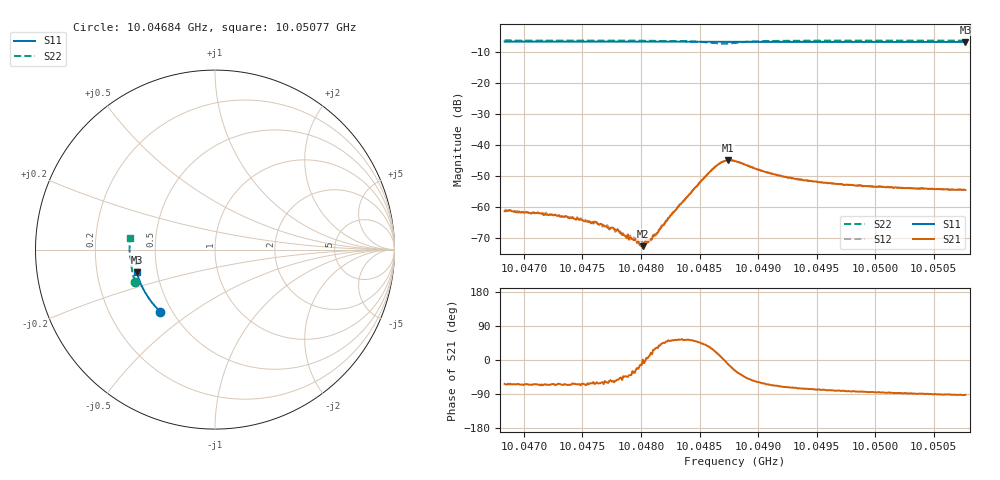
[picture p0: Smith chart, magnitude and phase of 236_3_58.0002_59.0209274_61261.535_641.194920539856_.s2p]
#  HZ  S  RI  R  50.00
! Rohde & Schwarz Vector Network Analyzer
! Rohde-Schwarz,ZNB20-2Port,1311601062101988,3.16
! Created: UTC 3/21/2024, 1:00:52 AM
! freq[Hz]  re:S11  im:S11  re:S21  im:S21  re:S12  im:S12  re:S22  im:S22
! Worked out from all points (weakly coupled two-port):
!   401 points, 10.04684 GHz to 10.05077 GHz, reference 50 ohm
!   highest |S21| = -45.01 dB at 10.04874 GHz (marker M1); lowest = -72.7 dB at 10.04802 GHz (marker M2)
!   lowest |S11| = -6.9 dB at 10.05077 GHz (marker M3), VSWR 2.66, Z = 19.1 - j6.11 ohm
!   |S11| at or under -10 dB: nowhere
!   |S22| runs from -7.4 to -6.4 dB; largest |S21 - S12| = 0.00042
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1.0046835e10  -0.3039 -0.3464  0.000386 -0.00076  0.000437 -0.000779  -0.4441 -0.1809
1.0047121e10  -0.3175 -0.333  0.000341 -0.000738  0.000381 -0.000714  -0.4506 -0.1627
1.0047495e10  -0.3344 -0.3151  0.00028 -0.000547  0.000285 -0.000542  -0.4578 -0.1376
1.0047632e10  -0.3403 -0.3081  0.00025 -0.000469  0.00029 -0.000438  -0.4602 -0.1281
1.0047711e10  -0.3436 -0.3041  0.00024 -0.000401  0.000288 -0.000422  -0.4614 -0.1224
1.004778e10  -0.3465 -0.3005  0.000247 -0.000355  0.000259 -0.000298  -0.4622 -0.1174
1.0047859e10  -0.3498 -0.2964  0.000246 -0.000238  0.000273 -0.00026  -0.4633 -0.1115
1.0047967e10  -0.3543 -0.2908  0.000244 -9.5e-05  0.000278 -8.52e-05  -0.4644 -0.1032
1.0048006e10  -0.3558 -0.2888  0.000226 -5.31e-05  0.000287 -4.65e-05  -0.4647 -0.1
1.0048016e10  -0.3563 -0.2883  0.000232 4.44e-06  0.00025 -3.7e-05  -0.4648 -0.0992
1.0048085e10  -0.3589 -0.2846  0.000281 9.7e-05  0.000259 0.000127  -0.465 -0.0936
1.0048154e10  -0.3616 -0.281  0.00033 0.000261  0.000315 0.000292  -0.4653 -0.0878
1.0048331e10  -0.3685 -0.2714  0.000649 0.000871  0.000558 0.000929  -0.4636 -0.0709
1.0048577e10  -0.3773 -0.2578  0.00284 0.00202  0.00272 0.00217  -0.4423 -0.047
1.0048665e10  -0.3801 -0.2529  0.00477 0.00118  0.00471 0.00148  -0.4255 -0.0523
1.0048744e10  -0.3827 -0.2489  0.00551 -0.00108  0.0056 -0.000757  -0.4223 -0.0701
1.0048803e10  -0.3848 -0.2455  0.0048 -0.00256  0.005 -0.00227  -0.4313 -0.0795
1.0049128e10  -0.3958 -0.227  0.00134 -0.00309  0.00154 -0.00305  -0.4675 -0.0586
1.0049462e10  -0.4058 -0.2074  0.000573 -0.00252  0.000718 -0.00252  -0.4743 -0.03
1.0049748e10  -0.4135 -0.1903  0.000321 -0.00226  0.000448 -0.00226  -0.4761 -0.00856
1.0050121e10  -0.4228 -0.1676  0.000163 -0.00205  0.000267 -0.00207  -0.4759 0.0183
1.0050771e10  -0.4357 -0.1269  -6.31e-05 -0.00186  2.11e-06 -0.00189  -0.4721 0.0622
